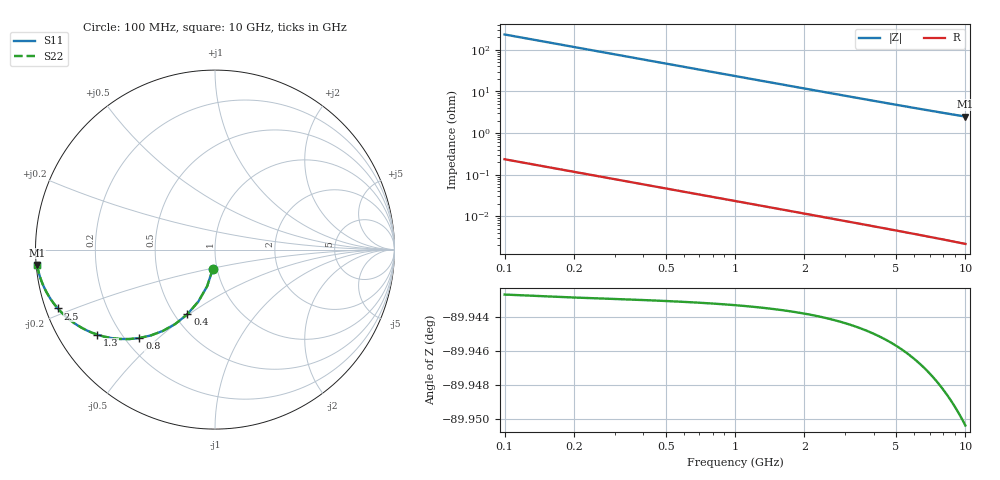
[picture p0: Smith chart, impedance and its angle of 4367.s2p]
# Hz S RI R 50.00
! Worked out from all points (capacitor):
!   100 points, 100 MHz to 10 GHz, reference 50 ohm
!   read as one part in shunt: C = 6.79 pF near 100 MHz
!   lowest |Z| = 2.49 ohm at 10 GHz (marker M1)
!   S11 on the Smith chart (normalised r, x): 100 MHz: 0.96, -0.20; 400 MHz: 0.58, -0.49; 800 MHz: 0.26, -0.44; 1.3 GHz: 0.12, -0.32; 2.5 GHz: 0.03, -0.18; 10 GHz: 0.00, -0.04
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1e8  -0.0113 -0.1054  0.9886 -0.1055  0.9886 -0.1055  -0.0113 -0.1054
2e8  -0.0437 -0.2038  0.9563 -0.204  0.9563 -0.204  -0.0437 -0.2038
3e8  -0.0931 -0.2898  0.9069 -0.2902  0.9069 -0.2902  -0.0931 -0.2898
4e8  -0.1541 -0.3603  0.8459 -0.3608  0.8459 -0.3608  -0.1541 -0.3603
5e8  -0.2214 -0.4144  0.7785 -0.415  0.7785 -0.415  -0.2214 -0.4144
6e8  -0.2904 -0.4531  0.7096 -0.4538  0.7096 -0.4538  -0.2904 -0.4531
7e8  -0.3576 -0.4784  0.6424 -0.4792  0.6424 -0.4792  -0.3576 -0.4784
8e8  -0.4208 -0.4927  0.5792 -0.4937  0.5792 -0.4937  -0.4208 -0.4927
1e9  -0.5314 -0.4979  0.4686 -0.4992  0.4686 -0.4992  -0.5314 -0.4979
1.1e9  -0.5783 -0.4926  0.4217 -0.494  0.4217 -0.494  -0.5783 -0.4926
1.3e9  -0.6567 -0.4735  0.3433 -0.4751  0.3433 -0.4751  -0.6567 -0.4735
1.5e9  -0.7178 -0.4486  0.2821 -0.4505  0.2821 -0.4505  -0.7178 -0.4486
1.8e9  -0.7853 -0.4089  0.2147 -0.4113  0.2147 -0.4113  -0.7853 -0.4089
2.1e9  -0.8326 -0.3715  0.1674 -0.3742  0.1674 -0.3742  -0.8326 -0.3715
2.5e9  -0.8755 -0.328  0.1244 -0.3312  0.1244 -0.3312  -0.8755 -0.328
2.9e9  -0.9043 -0.2917  0.0956 -0.2955  0.0956 -0.2955  -0.9043 -0.2917
3.4e9  -0.9285 -0.255  0.0715 -0.2594  0.0715 -0.2594  -0.9285 -0.255
4.2e9  -0.9519 -0.2107  0.0481 -0.2162  0.0481 -0.2162  -0.9519 -0.2107
5.1e9  -0.9668 -0.1751  0.0331 -0.1818  0.0331 -0.1818  -0.9668 -0.1751
6.7e9  -0.9806 -0.133  0.0194 -0.1419  0.0194 -0.1419  -0.9806 -0.133
8.4e9  -0.9876 -0.1043  0.0123 -0.1155  0.0123 -0.1155  -0.9876 -0.1043
1e10  -0.9913 -0.0853  0.0086 -0.0988  0.0086 -0.0988  -0.9913 -0.0853
